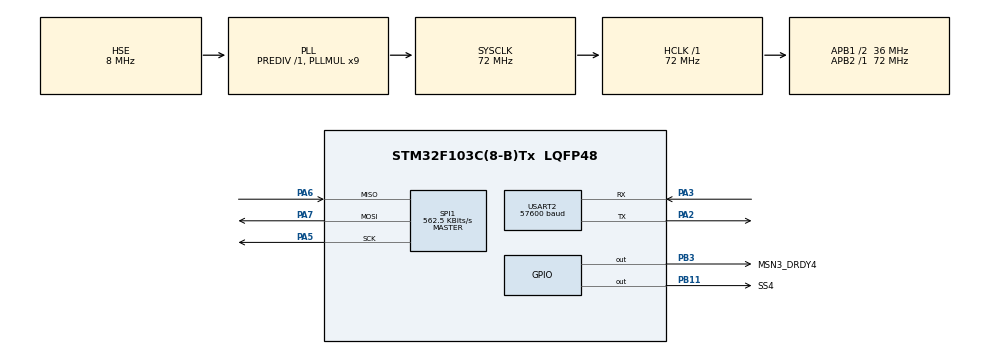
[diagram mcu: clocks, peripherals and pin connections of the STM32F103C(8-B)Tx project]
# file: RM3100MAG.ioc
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Dma.Request0=USART2_RX
Dma.USART2_RX.0.Direction=DMA_PERIPH_TO_MEMORY
Dma.USART2_RX.0.Instance=DMA1_Channel6
Dma.USART2_RX.0.MemDataAlignment=DMA_MDATAALIGN_BYTE
Dma.USART2_RX.0.MemInc=DMA_MINC_ENABLE
Dma.USART2_RX.0.Mode=DMA_NORMAL
Dma.USART2_RX.0.PeriphDataAlignment=DMA_PDATAALIGN_BYTE
Dma.USART2_RX.0.PeriphInc=DMA_PINC_DISABLE
Dma.USART2_RX.0.Priority=DMA_PRIORITY_LOW
Mcu.Family=STM32F1
Mcu.Name=STM32F103C(8-B)Tx
Mcu.Package=LQFP48
NVIC.DMA1_Channel6_IRQn=true\:0\:0\:false\:false\:true\:false\:true
NVIC.PriorityGroup=NVIC_PRIORITYGROUP_4
NVIC.RTC_Alarm_IRQn=true\:0\:0\:false\:false\:true\:true\:true
NVIC.USART2_IRQn=true\:0\:0\:false\:false\:true\:true\:true
PA13.Mode=Serial_Wire
PA13.Signal=SYS_JTMS-SWDIO
PA14.Mode=Serial_Wire
PA14.Signal=SYS_JTCK-SWCLK
PA2.Mode=Asynchronous
PA2.Signal=USART2_TX
PA3.Mode=Asynchronous
PA3.Signal=USART2_RX
PA5.Mode=Full_Duplex_Master
PA5.Signal=SPI1_SCK
PA6.Mode=Full_Duplex_Master
PA6.Signal=SPI1_MISO
PA7.Mode=Full_Duplex_Master
PA7.Signal=SPI1_MOSI
PB11.GPIO_Label=SS4
PB11.Signal=GPIO_Output
PB3.GPIO_Label=MSN3_DRDY4
PB3.Signal=GPIO_Output
PD0-OSC_IN.Mode=HSE-External-Oscillator
PD0-OSC_IN.Signal=RCC_OSC_IN
PD1-OSC_OUT.Mode=HSE-External-Oscillator
PD1-OSC_OUT.Signal=RCC_OSC_OUT
ProjectManager.HeapSize=0x200
ProjectManager.StackSize=0x400
ProjectManager.TargetToolchain=STM32CubeIDE
RCC.AHBFreq_Value=72000000
RCC.APB1CLKDivider=RCC_HCLK_DIV2
RCC.APB1Freq_Value=36000000
RCC.APB1TimFreq_Value=72000000
RCC.APB2Freq_Value=72000000
RCC.APB2TimFreq_Value=72000000
RCC.HCLKFreq_Value=72000000
RCC.PLLMUL=RCC_PLL_MUL9
RCC.PLLSourceVirtual=RCC_PLLSOURCE_HSE
RCC.SYSCLKFreq_VALUE=72000000
RCC.SYSCLKSource=RCC_SYSCLKSOURCE_PLLCLK
RCC.USBFreq_Value=72000000
RTC.Date=15
RTC.Hours=2
RTC.Minutes=38
RTC.Month=RTC_MONTH_MAY
RTC.Seconds=45
RTC.WeekDay=RTC_WEEKDAY_WEDNESDAY
RTC.Year=24
SPI1.BaudRatePrescaler=SPI_BAUDRATEPRESCALER_128
SPI1.CalculateBaudRate=562.5 KBits/s
SPI1.Direction=SPI_DIRECTION_2LINES
SPI1.Mode=SPI_MODE_MASTER
SPI1.VirtualType=VM_MASTER
USART2.BaudRate=57600
USART2.VirtualMode=VM_ASYNC
VP_RTC_VS_RTC_Activate.Mode=RTC_Enabled
VP_RTC_VS_RTC_Calendar.Mode=RTC_Calendar
board=custom

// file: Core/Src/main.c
/* USER CODE BEGIN Header */
/**
  ******************************************************************************
  * @file           : main.c
  * @brief          : Main program body
  ******************************************************************************
  * @attention
  *
  * <h2><center>&copy; Copyright (c) 2024 STMicroelectronics.
  * All rights reserved.</center></h2>
  *
  * This software component is licensed by ST under BSD 3-Clause license,
  * the "License"; You may not use this file except in compliance with the
  * License. You may obtain a copy of the License at:
  *                        opensource.org/licenses/BSD-3-Clause
  *
  ******************************************************************************
  */
/* USER CODE END Header */
#include "main.h"

/* USER CODE BEGIN Includes */
#include "RM3100MAG.h"
#include "stm32f1xx_hal_rtc.h" // Include RTC header file

/* USER CODE END Includes */

RTC_HandleTypeDef hrtc;

SPI_HandleTypeDef hspi1;

UART_HandleTypeDef huart2;
DMA_HandleTypeDef hdma_usart2_rx;

/* USER CODE BEGIN PV */
uint32_t mag_X;
uint32_t mag_Y;
uint32_t mag_Z;
uint32_t magnitude;
int flag = 0;
int32_t signed_mag_X, signed_mag_Y, signed_mag_Z;

float X_axis;
float Y_axis;
float Z_axis;
float Magnitude;
uint8_t read_X2, read_X1, read_X0;
uint8_t read_Y2, read_Y1, read_Y0;
uint8_t read_Z2, read_Z1, read_Z0;
uint8_t ack[10] = "hello wor";
uint8_t rx_ack[50];
/* USER CODE END PV */

void SystemClock_Config(void);
static void MX_GPIO_Init(void);
static void MX_SPI1_Init(void);
static void MX_USART2_UART_Init(void);
static void MX_DMA_Init(void);
static void MX_RTC_Init(void);
/* USER CODE BEGIN PFP */
void HAL_UART_RxCpltCallback(UART_HandleTypeDef *huart);
/* USER CODE END PFP */

int main(void)
{

  /* MCU Configuration--------------------------------------------------------*/

  /* Reset of all peripherals, Initializes the Flash interface and the Systick. */
  HAL_Init();

  /* Configure the system clock */
  SystemClock_Config();

  /* Initialize all configured peripherals */
  MX_GPIO_Init();
  MX_SPI1_Init();
  MX_USART2_UART_Init();
  MX_DMA_Init();
  MX_RTC_Init();
  /* USER CODE BEGIN 2 */
  SET_COUNT();
  Continuous_Mode();
  TMRC_Mode();
  set_time ();
  HAL_UART_Receive_DMA(&huart2, rx_ack, sizeof(rx_ack));
 // UART_TransmitString("Time ");
//  UART_TransmitString("X(uT)   \t");
//  UART_TransmitString("Y(uT)    \t\t");
//  UART_TransmitString("Z(uT)    \t\t\t");
//  UART_TransmitString("Magnitude(uT)\n");
  /* USER CODE END 2 */

  /* Infinite loop */
  while (1)
  {

    /* USER CODE BEGIN 3 */
//	  Mea_Result();
//	  Comb_measurement();
//	  HAL_Delay(100);

//	  HAL_UART_Receive(&huart2, rx_ack, sizeof(rx_ack),3000);
//	  	  HAL_Delay(10);
//	  if(HAL_UART_Transmit(&huart2, ack, sizeof(ack), 1000) == HAL_OK){
//		  flag = 1;
//	  }

  }
  /* USER CODE END 3 */
}

void SystemClock_Config(void)
{
  RCC_OscInitTypeDef RCC_OscInitStruct = {0};
  RCC_ClkInitTypeDef RCC_ClkInitStruct = {0};
  RCC_PeriphCLKInitTypeDef PeriphClkInit = {0};

  /** Initializes the RCC Oscillators according to the specified parameters
  * in the RCC_OscInitTypeDef structure.
  */
  RCC_OscInitStruct.OscillatorType = RCC_OSCILLATORTYPE_LSI|RCC_OSCILLATORTYPE_HSE;
  RCC_OscInitStruct.HSEState = RCC_HSE_ON;
  RCC_OscInitStruct.HSEPredivValue = RCC_HSE_PREDIV_DIV1;
  RCC_OscInitStruct.HSIState = RCC_HSI_ON;
  RCC_OscInitStruct.LSIState = RCC_LSI_ON;
  RCC_OscInitStruct.PLL.PLLState = RCC_PLL_ON;
  RCC_OscInitStruct.PLL.PLLSource = RCC_PLLSOURCE_HSE;
  RCC_OscInitStruct.PLL.PLLMUL = RCC_PLL_MUL9;
  if (HAL_RCC_OscConfig(&RCC_OscInitStruct) != HAL_OK)
  {
    Error_Handler();
  }
  /** Initializes the CPU, AHB and APB buses clocks
  */
  RCC_ClkInitStruct.ClockType = RCC_CLOCKTYPE_HCLK|RCC_CLOCKTYPE_SYSCLK
                              |RCC_CLOCKTYPE_PCLK1|RCC_CLOCKTYPE_PCLK2;
  RCC_ClkInitStruct.SYSCLKSource = RCC_SYSCLKSOURCE_PLLCLK;
  RCC_ClkInitStruct.AHBCLKDivider = RCC_SYSCLK_DIV1;
  RCC_ClkInitStruct.APB1CLKDivider = RCC_HCLK_DIV2;
  RCC_ClkInitStruct.APB2CLKDivider = RCC_HCLK_DIV1;

  if (HAL_RCC_ClockConfig(&RCC_ClkInitStruct, FLASH_LATENCY_2) != HAL_OK)
  {
    Error_Handler();
  }
  PeriphClkInit.PeriphClockSelection = RCC_PERIPHCLK_RTC;
  PeriphClkInit.RTCClockSelection = RCC_RTCCLKSOURCE_LSI;
  if (HAL_RCCEx_PeriphCLKConfig(&PeriphClkInit) != HAL_OK)
  {
    Error_Handler();
  }
}

static void MX_RTC_Init(void)
{

  RTC_TimeTypeDef sTime = {0};
  RTC_DateTypeDef DateToUpdate = {0};

  /** Initialize RTC Only
  */
  hrtc.Instance = RTC;
  hrtc.Init.AsynchPrediv = RTC_AUTO_1_SECOND;
  hrtc.Init.OutPut = RTC_OUTPUTSOURCE_ALARM;
  if (HAL_RTC_Init(&hrtc) != HAL_OK)
  {
    Error_Handler();
  }

  /** Initialize RTC and set the Time and Date
  */
  sTime.Hours = 0x2;
  sTime.Minutes = 0x38;
  sTime.Seconds = 0x45;

  if (HAL_RTC_SetTime(&hrtc, &sTime, RTC_FORMAT_BCD) != HAL_OK)
  {
    Error_Handler();
  }
  DateToUpdate.WeekDay = RTC_WEEKDAY_WEDNESDAY;
  DateToUpdate.Month = RTC_MONTH_MAY;
  DateToUpdate.Date = 0x15;
  DateToUpdate.Year = 0x24;

  if (HAL_RTC_SetDate(&hrtc, &DateToUpdate, RTC_FORMAT_BCD) != HAL_OK)
  {
    Error_Handler();
  }

}

static void MX_SPI1_Init(void)
{

  /* SPI1 parameter configuration*/
  hspi1.Instance = SPI1;
  hspi1.Init.Mode = SPI_MODE_MASTER;
  hspi1.Init.Direction = SPI_DIRECTION_2LINES;
  hspi1.Init.DataSize = SPI_DATASIZE_8BIT;
  hspi1.Init.CLKPolarity = SPI_POLARITY_LOW;
  hspi1.Init.CLKPhase = SPI_PHASE_1EDGE;
  hspi1.Init.NSS = SPI_NSS_SOFT;
  hspi1.Init.BaudRatePrescaler = SPI_BAUDRATEPRESCALER_128;
  hspi1.Init.FirstBit = SPI_FIRSTBIT_MSB;
  hspi1.Init.TIMode = SPI_TIMODE_DISABLE;
  hspi1.Init.CRCCalculation = SPI_CRCCALCULATION_DISABLE;
  hspi1.Init.CRCPolynomial = 10;
  if (HAL_SPI_Init(&hspi1) != HAL_OK)
  {
    Error_Handler();
  }

}

static void MX_USART2_UART_Init(void)
{

  huart2.Instance = USART2;
  huart2.Init.BaudRate = 57600;
  huart2.Init.WordLength = UART_WORDLENGTH_8B;
  huart2.Init.StopBits = UART_STOPBITS_1;
  huart2.Init.Parity = UART_PARITY_NONE;
  huart2.Init.Mode = UART_MODE_TX_RX;
  huart2.Init.HwFlowCtl = UART_HWCONTROL_NONE;
  huart2.Init.OverSampling = UART_OVERSAMPLING_16;
  if (HAL_UART_Init(&huart2) != HAL_OK)
  {
    Error_Handler();
  }

}

static void MX_DMA_Init(void)
{

  /* DMA controller clock enable */
  __HAL_RCC_DMA1_CLK_ENABLE();

  /* DMA interrupt init */
  /* DMA1_Channel6_IRQn interrupt configuration */
  HAL_NVIC_SetPriority(DMA1_Channel6_IRQn, 0, 0);
  HAL_NVIC_EnableIRQ(DMA1_Channel6_IRQn);

}

static void MX_GPIO_Init(void)
{
  GPIO_InitTypeDef GPIO_InitStruct = {0};

  /* GPIO Ports Clock Enable */
  __HAL_RCC_GPIOD_CLK_ENABLE();
  __HAL_RCC_GPIOA_CLK_ENABLE();
  __HAL_RCC_GPIOB_CLK_ENABLE();

  /*Configure GPIO pin Output Level */
  HAL_GPIO_WritePin(GPIOB, SS4_Pin|MSN3_DRDY4_Pin, GPIO_PIN_RESET);

  /*Configure GPIO pins : SS4_Pin MSN3_DRDY4_Pin */
  GPIO_InitStruct.Pin = SS4_Pin|MSN3_DRDY4_Pin;
  GPIO_InitStruct.Mode = GPIO_MODE_OUTPUT_PP;
  GPIO_InitStruct.Pull = GPIO_NOPULL;
  GPIO_InitStruct.Speed = GPIO_SPEED_FREQ_LOW;
  HAL_GPIO_Init(GPIOB, &GPIO_InitStruct);

}

/* USER CODE BEGIN 4 */
void HAL_UART_RxCpltCallback(UART_HandleTypeDef *huart){
//	HAL_UART_Transmit(&huart2, ack, sizeof(ack), 1000);
//	if(memcmp(ack, rx_ack, sizeof(rx_ack))==0){
	Mea_Result();
	Comb_measurement();
	HAL_UART_Receive_DMA(&huart2, rx_ack, sizeof(rx_ack));
//	}
}
/* USER CODE END 4 */

void Error_Handler(void)
{
  __disable_irq();
  while (1)
  {
  }
}

/************************ (C) COPYRIGHT STMicroelectronics *****END OF FILE****/
